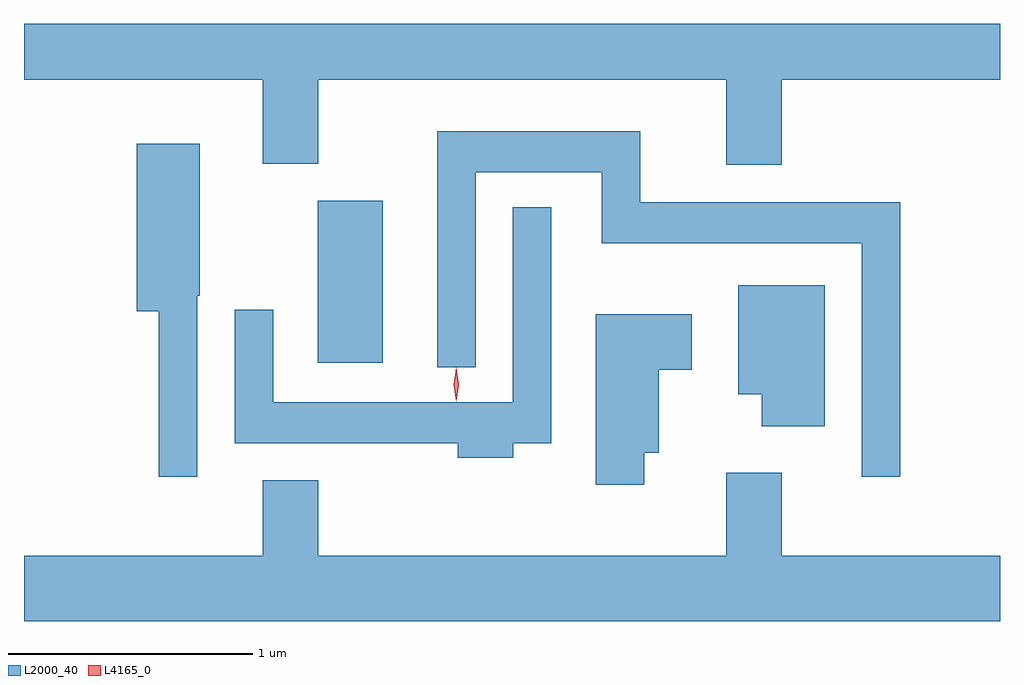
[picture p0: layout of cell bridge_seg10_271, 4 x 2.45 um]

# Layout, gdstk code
import gdstk
lib = gdstk.Library(unit=1e-6, precision=1e-09)
def R(c, l, rs):  # rectangles x0, y0, x1, y1
    for r in rs: c.add(gdstk.rectangle(r[:2], r[2:], *l))
def P(c, l, *ps):  # polygons
    for p in ps: c.add(gdstk.Polygon(p, *l))
L2000_40 = (2000, 40)
L4165_0 = (4165, 0)

bridge_seg10_271 = lib.new_cell('bridge_seg10_271')
R(bridge_seg10_271, L2000_40, [(1449.216,2179.356,1449.484,2180.019)])
P(bridge_seg10_271, L2000_40, [(1451.119,2180.516),(1452.013,2180.516),(1452.013,2180.745),(1448.013,2180.745),(1448.013,2180.516),(1448.991,2180.516),(1448.991,2180.171),(1449.219,2180.171),(1449.219,2180.516),(1450.891,2180.516),(1450.891,2180.166),(1451.119,2180.166)],
  [(1451.604,2180.014),(1450.539,2180.014),(1450.539,2180.304),(1449.706,2180.304),(1449.706,2179.338),(1449.864,2179.338),(1449.864,2180.136),(1450.381,2180.136),(1450.381,2179.846),(1451.446,2179.846),(1451.446,2178.888),(1451.604,2178.888)],
  [(1448.724,2179.63),(1448.734,2179.63),(1448.734,2180.254),(1448.476,2180.254),(1448.476,2179.566),(1448.566,2179.566),(1448.566,2178.888),(1448.724,2178.888)],
  [(1450.019,2179.026),(1450.174,2179.026),(1450.174,2179.993),(1450.016,2179.993),(1450.016,2179.194),(1449.034,2179.194),(1449.034,2179.573),(1448.876,2179.573),(1448.876,2179.026),(1449.791,2179.026),(1449.791,2178.966),(1450.019,2178.966)],
  [(1451.294,2179.674),(1450.941,2179.674),(1450.941,2179.226),(1451.036,2179.226),(1451.036,2179.096),(1451.294,2179.096)],
  [(1450.554,2178.986),(1450.614,2178.986),(1450.614,2179.326),(1450.749,2179.326),(1450.749,2179.554),(1450.356,2179.554),(1450.356,2178.856),(1450.554,2178.856)],
  [(1452.013,2178.564),(1451.119,2178.564),(1451.119,2178.904),(1450.891,2178.904),(1450.891,2178.564),(1449.219,2178.564),(1449.219,2178.874),(1448.991,2178.874),(1448.991,2178.564),(1448.013,2178.564),(1448.013,2178.296),(1452.013,2178.296)])
P(bridge_seg10_271, L4165_0, [(1449.784,2179.197),(1449.775,2179.266),(1449.784,2179.336),(1449.785,2179.336),(1449.785,2179.336),(1449.795,2179.266),(1449.785,2179.197),(1449.785,2179.197)],
  [(1449.785,2179.199),(1449.784,2179.2),(1449.775,2179.266),(1449.784,2179.332),(1449.785,2179.333),(1449.785,2179.332),(1449.795,2179.266),(1449.785,2179.2)])

lib.write_gds('bridge_seg10_271.gds')
